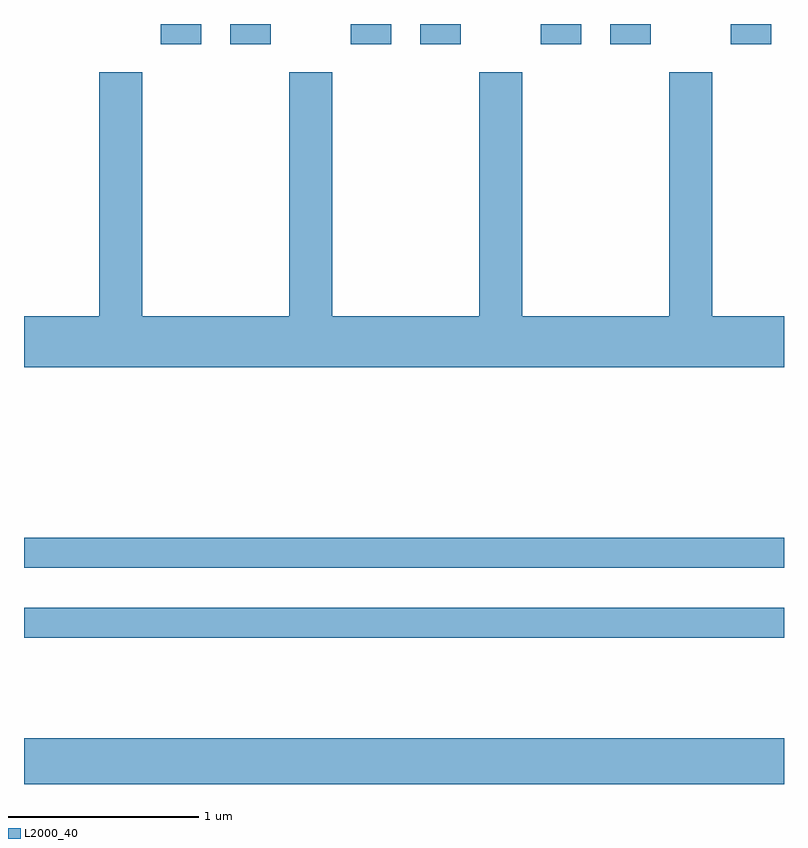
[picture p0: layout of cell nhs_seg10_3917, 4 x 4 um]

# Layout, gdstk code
import gdstk
lib = gdstk.Library(unit=1e-6, precision=1e-09)
def R(c, l, rs):  # rectangles x0, y0, x1, y1
    for r in rs: c.add(gdstk.rectangle(r[:2], r[2:], *l))
def P(c, l, *ps):  # polygons
    for p in ps: c.add(gdstk.Polygon(p, *l))
L2000_40 = (2000, 40)

nhs_seg10_3917 = lib.new_cell('nhs_seg10_3917')
R(nhs_seg10_3917, L2000_40, [(299.611,2200.522,303.611,2200.764), (299.611,2201.291,303.611,2201.449), (299.611,2201.661,303.611,2201.819), (300.331,2204.416,300.544,2204.522), (300.696,2204.416,300.909,2204.522), (301.331,2204.416,301.544,2204.522), (301.696,2204.416,301.909,2204.522), (302.331,2204.416,302.544,2204.522), (302.696,2204.416,302.909,2204.522), (303.331,2204.416,303.544,2204.522)])
P(nhs_seg10_3917, L2000_40, [(303.611,2202.984),(303.234,2202.984),(303.234,2204.269),(303.006,2204.269),(303.006,2202.984),(302.234,2202.984),(302.234,2204.269),(302.006,2204.269),(302.006,2202.984),(301.234,2202.984),(301.234,2204.269),(301.006,2204.269),(301.006,2202.984),(300.234,2202.984),(300.234,2204.269),(300.006,2204.269),(300.006,2202.984),(299.611,2202.984),(299.611,2202.716),(303.611,2202.716)])

lib.write_gds('nhs_seg10_3917.gds')
